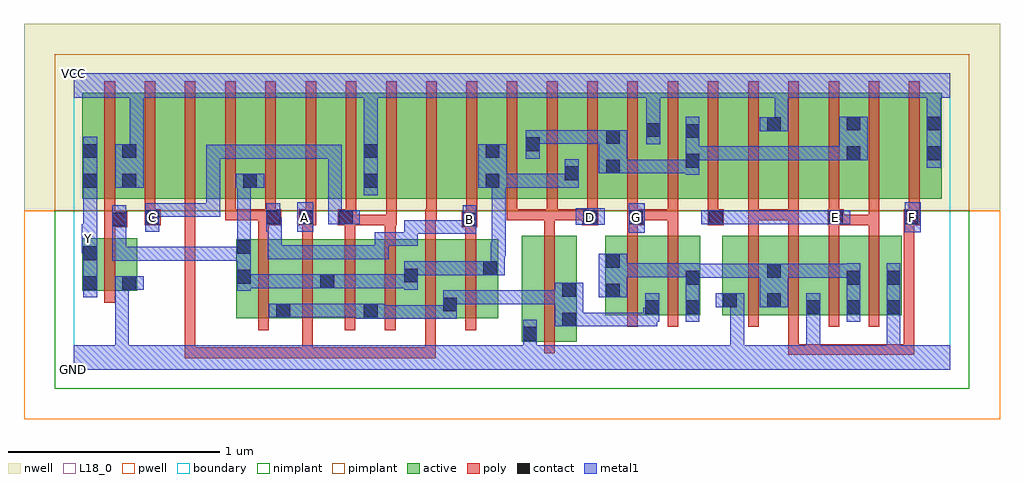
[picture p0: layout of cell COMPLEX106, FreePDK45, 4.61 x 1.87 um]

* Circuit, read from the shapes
.subckt COMPLEX106 A B C D E F G GND VCC Y
M1 GND n1 Y VSUBS nfet w=0.25u l=0.05u
M2 n2 B n1 VSUBS nfet w=0.375u l=0.05u m=2
M3 n1 A n2 VSUBS nfet w=0.375u l=0.05u m=2
M4 n2 C n1 VSUBS nfet w=0.375u l=0.05u m=2
M5 n2 D GND VSUBS nfet w=0.5u l=0.05u
M6 n2 G n3 VSUBS nfet w=0.375u l=0.05u m=2
M7 n3 F GND VSUBS nfet w=0.375u l=0.05u m=2
M8 n3 E GND VSUBS nfet w=0.375u l=0.05u m=2
M9 VCC n1 Y n4 pfet w=0.5u l=0.05u
M10 n5 C VCC n4 pfet w=0.5u l=0.05u
M11 n6 A n5 n4 pfet w=0.5u l=0.05u
M12 n1 B n6 n4 pfet w=0.5u l=0.05u
M13 n7 B n1 n4 pfet w=0.5u l=0.05u
M14 n8 A n7 n4 pfet w=0.5u l=0.05u
M15 VCC C n8 n4 pfet w=0.5u l=0.05u
M16 n9 C VCC n4 pfet w=0.5u l=0.05u
M17 n10 A n9 n4 pfet w=0.5u l=0.05u
M18 n1 B n10 n4 pfet w=0.5u l=0.05u
M19 n11 D n1 n4 pfet w=0.5u l=0.05u m=3
M20 VCC G n11 n4 pfet w=0.5u l=0.05u m=2
M21 n12 E n11 n4 pfet w=0.5u l=0.05u
M22 VCC F n12 n4 pfet w=0.5u l=0.05u
M23 n13 F VCC n4 pfet w=0.5u l=0.05u
M24 n11 E n13 n4 pfet w=0.5u l=0.05u
M25 n14 E n11 n4 pfet w=0.5u l=0.05u
M26 VCC F n14 n4 pfet w=0.5u l=0.05u
.ends

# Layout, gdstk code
import gdstk
lib = gdstk.Library(unit=1e-6, precision=1e-09)
def R(c, l, rs):  # rectangles x0, y0, x1, y1
    for r in rs: c.add(gdstk.rectangle(r[:2], r[2:], *l))
def A(c, l, x, y, w, h, nx, ny, dx, dy):  # array of equal rectangles
    R(c, l, [(x+i*dx, y+j*dy, x+i*dx+w, y+j*dy+h) for i in range(nx) for j in range(ny)])
active = (1, 0)
pwell = (2, 0)
nwell = (3, 0)
nimplant = (4, 0)
pimplant = (5, 0)
poly = (9, 0)
contact = (10, 0)
metal1 = (11, 0)
L18_0 = (18, 0)
boundary = (235, 0)

complex106 = lib.new_cell('COMPLEX106')
A(complex106, active, 0.225, 0.807, 0.23, 0.5, 3, 1, 0.57, 0)
A(complex106, active, 0.455, 0.807, 0.19, 0.5, 3, 1, 0.57, 0)
R(complex106, active, [(2.117,0.132,2.377,0.632), (2.117,0.132,2.192,0.632), (2.302,0.195,2.377,0.632), (0.767,0.242,1.027,0.617), (0.952,0.242,1.235,0.617), (0.952,0.242,1.027,0.512), (1.16,0.242,1.44,0.617), (1.365,0.242,1.63,0.617), (1.365,0.242,1.44,0.592), (1.555,0.242,1.815,0.617), (1.74,0.242,2.005,0.617), (0.767,0.257,0.842,0.617), (2.51,0.257,2.77,0.632), (2.695,0.257,2.96,0.632), (2.695,0.257,2.77,0.497), (2.885,0.257,2.96,0.632), (3.062,0.257,3.137,0.632), (3.062,0.257,3.345,0.632), (3.27,0.257,3.345,0.632), (3.27,0.257,3.53,0.632), (3.455,0.257,3.72,0.632), (3.455,0.257,3.53,0.497), (3.645,0.257,3.91,0.632), (3.645,0.257,3.72,0.592), (3.835,0.257,3.91,0.632), (1.74,0.27,1.815,0.467), (1.16,0.32,1.235,0.512), (1.555,0.32,1.63,0.512), (1.93,0.32,2.005,0.617), (2.51,0.32,2.585,0.632), (0.04,0.372,0.115,0.622), (0.04,0.372,0.3,0.622), (0.225,0.372,0.3,0.622), (0.04,0.807,0.3,1.307), (0.04,0.807,0.115,1.2), (0.225,0.807,0.3,1.307), (0.645,0.807,0.87,1.307), (0.795,0.807,0.87,1.07), (1.215,0.807,1.44,1.307), (1.365,0.807,1.44,1.307), (1.785,0.807,2.015,1.307), (1.94,0.807,2.015,1.2), (1.94,0.807,2.205,1.307), (2.13,0.807,2.39,1.307), (2.13,0.807,2.205,1.2), (2.315,0.807,2.585,1.307), (2.315,0.807,2.39,1.07), (2.51,0.807,2.585,1.2), (2.51,0.807,2.775,1.307), (2.7,0.807,2.96,1.307), (2.7,0.807,2.775,1.307), (2.885,0.807,3.115,1.307), (2.885,0.807,2.96,1.2), (3.115,0.807,3.345,1.307), (3.27,0.807,3.345,1.307), (3.27,0.807,3.495,1.307), (3.495,0.807,3.72,1.307), (3.645,0.807,3.875,1.307), (3.645,0.807,3.72,1.2), (3.875,0.807,4.1,1.307), (4.025,0.807,4.1,1.307)])
R(complex106, pwell, [(-0.235,-0.235,4.375,0.75)])
R(complex106, nwell, [(-0.235,0.75,4.375,1.635)])
R(complex106, nimplant, [(-0.09,-0.09,4.23,0.75)])
R(complex106, pimplant, [(-0.09,0.75,4.23,1.49)])
A(complex106, poly, 1.28, 0.187, 0.05, 0.485, 4, 1, 0.19, 0)
A(complex106, poly, 3.185, 0.202, 0.05, 0.485, 4, 1, 0.19, 0)
A(complex106, poly, 0.715, 0.707, 0.05, 0.095, 4, 1, 0.19, 0)
A(complex106, poly, 2.045, 0.707, 0.05, 0.095, 9, 1, 0.19, 0)
A(complex106, poly, 0.145, 0.752, 0.05, 0.61, 21, 1, 0.19, 0)
R(complex106, poly, [(0.525,0.055,0.575,0.105), (0.525,0.055,0.575,0.105), (0.525,0.055,0.575,0.105), (0.525,0.055,0.575,0.105), (0.525,0.055,0.575,0.105), (0.525,0.055,0.575,0.105), (0.525,0.055,0.575,0.105), (0.525,0.055,0.575,0.105), (0.525,0.055,0.575,0.105), (0.525,0.055,0.575,0.105), (0.525,0.055,0.575,0.105), (0.525,0.055,0.707,0.105), (0.525,0.055,0.575,0.802), (0.657,0.055,0.707,0.105), (0.657,0.055,0.707,0.105), (0.657,0.055,0.707,0.105), (0.657,0.055,0.98,0.105), (0.93,0.055,0.98,0.105), (0.93,0.055,0.98,0.105), (0.93,0.055,0.98,0.105), (0.93,0.055,1.13,0.105), (1.08,0.055,1.13,0.105), (1.08,0.055,1.13,0.105), (1.08,0.055,1.13,0.105), (1.08,0.055,1.13,0.237), (1.08,0.055,1.387,0.105), (1.337,0.055,1.387,0.105), (1.337,0.055,1.387,0.105), (1.337,0.055,1.387,0.105), (1.337,0.055,1.52,0.105), (1.47,0.055,1.52,0.105), (1.47,0.055,1.52,0.105), (1.47,0.055,1.52,0.105), (1.47,0.055,1.71,0.105), (1.66,0.055,1.71,0.105), (1.66,0.055,1.71,0.237), (3.375,0.07,3.425,0.12), (3.375,0.07,3.425,0.12), (3.375,0.07,3.425,0.12), (3.375,0.07,3.637,0.12), (3.375,0.07,3.425,0.252), (3.587,0.07,3.637,0.12), (3.587,0.07,3.77,0.12), (3.72,0.07,3.77,0.12), (3.72,0.07,3.77,0.12), (3.72,0.07,3.77,0.12), (3.72,0.07,3.97,0.12), (3.92,0.07,3.97,0.12), (3.92,0.07,3.97,0.12), (3.92,0.07,3.97,0.12), (3.92,0.07,3.97,0.732), (2.222,0.077,2.272,0.687), (0.872,0.187,0.922,0.672), (1.08,0.187,1.13,0.672), (2.615,0.202,2.665,0.687), (2.805,0.202,2.855,0.687), (0.145,0.317,0.195,0.677), (0.872,0.622,0.922,0.732), (1.08,0.622,1.13,0.732), (1.28,0.622,1.33,0.732), (1.47,0.622,1.52,0.732), (1.66,0.622,1.71,0.757), (1.85,0.622,1.9,0.722), (0.145,0.627,0.195,0.722), (2.222,0.637,2.272,0.757), (2.615,0.637,2.665,0.732), (2.805,0.637,2.855,0.757), (3.185,0.637,3.235,0.757), (3.375,0.637,3.425,0.757), (3.565,0.637,3.615,0.732), (3.755,0.637,3.805,0.732), (0.145,0.672,0.252,0.747), (1.832,0.672,1.907,0.747), (0.335,0.682,0.41,0.757), (0.872,0.682,0.98,0.757), (1.062,0.682,1.145,0.757), (1.247,0.682,1.335,0.757), (1.285,0.682,1.335,0.732), (1.285,0.682,1.335,0.732), (1.285,0.682,1.52,0.732), (1.47,0.682,1.525,0.732), (1.475,0.682,1.525,0.802), (2.402,0.682,2.477,0.757), (2.615,0.682,2.692,0.757), (2.995,0.682,3.07,0.757), (3.562,0.682,3.637,0.757), (3.587,0.682,3.805,0.732), (3.755,0.682,3.805,0.732), (3.755,0.682,3.805,0.732), (3.755,0.682,3.805,0.732), (3.755,0.682,3.805,0.802), (3.92,0.682,3.97,0.732), (3.92,0.682,3.97,0.732), (3.92,0.682,3.97,0.732), (3.92,0.682,3.97,0.732), (3.92,0.682,3.97,0.732), (3.92,0.682,3.97,0.732), (3.92,0.682,3.995,0.757), (0.145,0.697,0.195,0.802), (1.855,0.697,1.905,0.802), (0.335,0.707,0.385,0.802), (0.715,0.707,0.765,0.757), (0.715,0.707,0.765,0.757), (0.715,0.707,0.765,0.757), (0.715,0.707,0.922,0.757), (1.66,0.707,1.715,0.757), (1.665,0.707,1.715,0.802), (2.045,0.707,2.095,0.757), (2.045,0.707,2.095,0.757), (2.045,0.707,2.095,0.757), (2.045,0.707,2.272,0.757), (2.222,0.707,2.285,0.757), (2.235,0.707,2.285,0.757), (2.235,0.707,2.285,0.757), (2.235,0.707,2.452,0.757), (2.642,0.707,2.855,0.757), (2.805,0.707,2.855,0.757), (2.805,0.707,2.855,0.757), (2.805,0.707,2.855,0.757), (3.185,0.707,3.235,0.757), (3.185,0.707,3.235,0.757), (3.185,0.707,3.235,0.757), (3.185,0.707,3.425,0.757), (3.375,0.707,3.425,0.757), (3.945,0.707,3.995,0.802)])
A(complex106, contact, 3.46, 0.262, 0.065, 0.065, 3, 1, 0.19, 0)
A(complex106, contact, 0.23, 0.86, 0.065, 0.065, 3, 1, 0.57, 0)
R(complex106, contact, [(2.122,0.137,2.187,0.202), (2.307,0.205,2.372,0.27), (0.957,0.247,1.022,0.312), (1.37,0.247,1.435,0.312), (2.7,0.262,2.765,0.327), (2.89,0.262,2.955,0.327), (1.745,0.275,1.81,0.34), (3.067,0.295,3.132,0.36), (3.275,0.295,3.34,0.36), (2.515,0.342,2.58,0.407), (2.307,0.345,2.372,0.41), (0.045,0.377,0.11,0.442), (0.23,0.377,0.295,0.442), (1.165,0.385,1.23,0.45), (2.89,0.402,2.955,0.467), (3.65,0.402,3.715,0.467), (3.84,0.402,3.905,0.467), (0.772,0.407,0.837,0.472), (1.56,0.412,1.625,0.477), (3.275,0.435,3.34,0.5), (1.935,0.447,2,0.512), (2.515,0.482,2.58,0.547), (0.045,0.517,0.11,0.582), (0.772,0.547,0.837,0.612), (0.182,0.677,0.247,0.742), (1.837,0.677,1.902,0.742), (0.34,0.687,0.405,0.752), (0.91,0.687,0.975,0.752), (1.067,0.687,1.132,0.752), (1.252,0.687,1.317,0.752), (2.407,0.687,2.472,0.752), (2.622,0.687,2.687,0.752), (3,0.687,3.065,0.752), (3.567,0.687,3.632,0.752), (3.925,0.687,3.99,0.752), (0.045,0.86,0.11,0.925), (1.945,0.86,2.01,0.925), (2.32,0.895,2.385,0.96), (2.515,0.927,2.58,0.992), (2.89,0.955,2.955,1.02), (3.65,0.99,3.715,1.055), (4.03,0.99,4.095,1.055), (0.045,1,0.11,1.065), (0.23,1,0.295,1.065), (1.37,1,1.435,1.065), (1.945,1,2.01,1.065), (2.135,1.032,2.2,1.097), (2.515,1.067,2.58,1.132), (2.89,1.095,2.955,1.16), (2.705,1.1,2.77,1.165), (3.275,1.127,3.34,1.192), (3.65,1.13,3.715,1.195), (4.03,1.13,4.095,1.195)])
R(complex106, metal1, [(0,0,4.14,0.115), (0.195,0.05,0.26,0.115), (0.195,0.05,0.26,0.115), (0.195,0.05,0.26,0.115), (0.195,0.05,0.26,0.115), (0.195,0.05,0.26,0.115), (0.195,0.05,0.26,0.115), (0.195,0.05,0.26,0.442), (2.122,0.05,2.187,0.167), (3.102,0.05,3.167,0.115), (3.102,0.05,3.167,0.115), (3.102,0.05,3.167,0.36), (3.46,0.05,3.525,0.292), (3.46,0.05,3.525,0.115), (3.46,0.05,3.525,0.115), (3.84,0.05,3.905,0.292), (3.84,0.05,3.905,0.115), (3.84,0.05,3.905,0.115), (3.84,0.05,3.905,0.115), (3.84,0.05,3.905,0.115), (2.122,0.102,2.187,0.167), (2.122,0.102,2.187,0.167), (2.122,0.102,2.187,0.237), (2.272,0.205,2.407,0.41), (2.342,0.205,2.407,0.27), (2.342,0.205,2.407,0.27), (2.342,0.205,2.627,0.27), (2.562,0.205,2.627,0.27), (2.562,0.205,2.755,0.27), (2.69,0.205,2.755,0.292), (2.69,0.227,2.765,0.292), (2.7,0.227,2.765,0.362), (2.89,0.227,2.955,0.502), (3.46,0.227,3.525,0.292), (3.46,0.227,3.525,0.292), (3.46,0.227,3.525,0.362), (3.65,0.227,3.715,0.502), (3.84,0.227,3.905,0.502), (1.335,0.24,1.47,0.312), (1.405,0.24,1.625,0.305), (1.56,0.24,1.625,0.305), (1.56,0.24,1.625,0.305), (1.56,0.24,1.625,0.305), (1.56,0.24,1.762,0.305), (1.697,0.24,1.762,0.305), (1.697,0.24,1.81,0.305), (1.745,0.24,1.81,0.375), (0.922,0.247,1.057,0.312), (0.992,0.247,1.145,0.312), (1.08,0.247,1.145,0.312), (1.08,0.247,1.262,0.312), (1.197,0.247,1.262,0.312), (1.197,0.247,1.4,0.312), (1.335,0.247,1.4,0.312), (1.335,0.247,1.4,0.312), (3.032,0.295,3.167,0.36), (3.102,0.295,3.167,0.36), (3.102,0.295,3.167,0.36), (3.24,0.295,3.375,0.5), (1.745,0.31,1.907,0.375), (1.842,0.31,1.907,0.375), (1.842,0.31,1.947,0.375), (1.882,0.31,1.947,0.375), (1.882,0.31,2.062,0.375), (1.997,0.31,2.062,0.375), (1.997,0.31,2.2,0.375), (2.135,0.31,2.2,0.375), (2.135,0.31,2.2,0.375), (2.135,0.31,2.2,0.375), (2.135,0.31,2.337,0.375), (0.045,0.342,0.11,0.617), (2.48,0.342,2.615,0.547), (0.772,0.372,0.837,0.647), (0.772,0.372,0.837,0.437), (0.772,0.372,0.837,0.45), (0.195,0.377,0.33,0.442), (1.56,0.377,1.625,0.512), (0.772,0.385,0.975,0.45), (0.91,0.385,0.975,0.45), (0.91,0.385,0.975,0.45), (0.91,0.385,0.975,0.45), (0.91,0.385,1.145,0.45), (1.08,0.385,1.145,0.45), (1.08,0.385,1.195,0.45), (1.13,0.385,1.265,0.45), (1.2,0.385,1.487,0.45), (1.422,0.385,1.487,0.45), (1.422,0.385,1.487,0.45), (1.422,0.385,1.487,0.45), (1.422,0.385,1.625,0.45), (1.56,0.385,1.625,0.45), (1.56,0.385,1.625,0.45), (2.89,0.435,3.03,0.5), (2.965,0.435,3.03,0.5), (2.965,0.435,3.092,0.5), (3.027,0.435,3.092,0.5), (3.027,0.435,3.305,0.5), (3.24,0.435,3.305,0.5), (3.24,0.435,3.305,0.5), (3.31,0.435,3.46,0.5), (3.395,0.435,3.46,0.5), (3.395,0.435,3.512,0.5), (3.447,0.435,3.512,0.5), (3.447,0.435,3.715,0.5), (3.65,0.435,3.715,0.5), (3.65,0.435,3.715,0.5), (2.55,0.437,2.615,0.502), (2.55,0.437,2.615,0.502), (2.55,0.437,2.817,0.502), (2.752,0.437,2.817,0.502), (2.752,0.437,2.892,0.502), (2.827,0.437,2.892,0.502), (2.827,0.437,2.955,0.502), (1.56,0.447,1.762,0.512), (1.697,0.447,1.762,0.512), (1.697,0.447,1.762,0.512), (1.697,0.447,1.762,0.512), (1.697,0.447,1.907,0.512), (1.842,0.447,1.907,0.512), (1.842,0.447,1.965,0.512), (1.9,0.447,2.035,0.512), (1.97,0.447,2.035,0.602), (0.182,0.515,0.247,0.58), (0.182,0.515,0.385,0.58), (0.182,0.515,0.247,0.707), (0.32,0.515,0.385,0.58), (0.32,0.515,0.385,0.58), (0.32,0.515,0.385,0.58), (0.32,0.515,0.542,0.58), (0.477,0.515,0.542,0.58), (0.477,0.515,0.542,0.58), (0.477,0.515,0.542,0.58), (0.477,0.515,0.837,0.58), (0.772,0.515,0.837,0.58), (0.772,0.515,0.837,0.58), (0.917,0.522,0.982,0.587), (0.917,0.522,1.112,0.587), (0.917,0.522,0.982,0.717), (1.047,0.522,1.112,0.587), (1.047,0.522,1.262,0.587), (1.197,0.522,1.262,0.587), (1.197,0.522,1.487,0.587), (1.422,0.522,1.487,0.587), (1.422,0.522,1.487,0.587), (1.422,0.522,1.487,0.65), (1.97,0.537,2.04,0.602), (1.975,0.537,2.04,0.925), (0.037,0.552,0.11,0.687), (0.045,0.552,0.11,0.617), (0.772,0.582,0.837,0.647), (0.772,0.582,0.837,0.647), (0.772,0.582,0.837,0.925), (1.422,0.585,1.625,0.65), (1.56,0.585,1.625,0.65), (1.56,0.585,1.625,0.65), (1.56,0.585,1.625,0.65), (1.56,0.585,1.625,0.707), (0.045,0.622,0.11,0.89), (0.182,0.642,0.247,0.707), (0.182,0.642,0.247,0.707), (0.182,0.642,0.247,0.777), (1.56,0.642,1.625,0.707), (1.56,0.642,1.762,0.707), (1.697,0.642,1.762,0.707), (1.697,0.642,1.762,0.707), (1.697,0.642,1.762,0.707), (1.697,0.642,1.902,0.707), (1.837,0.642,1.902,0.777), (2.622,0.647,2.697,0.787), (3.925,0.65,4,0.79), (0.337,0.652,0.405,0.787), (0.91,0.652,0.975,0.787), (0.91,0.652,0.982,0.717), (0.917,0.652,0.982,0.717), (1.055,0.652,1.132,0.79), (2.372,0.685,2.507,0.762), (1.202,0.687,1.267,0.752), (1.202,0.687,1.282,0.752), (1.202,0.687,1.267,1.062), (1.217,0.687,1.352,0.752), (2.965,0.687,3.1,0.752), (3.035,0.687,3.1,0.752), (3.035,0.687,3.1,0.752), (3.035,0.687,3.322,0.752), (3.257,0.687,3.322,0.752), (3.257,0.687,3.322,0.752), (3.257,0.687,3.322,0.752), (3.257,0.687,3.46,0.752), (3.395,0.687,3.46,0.752), (3.395,0.687,3.512,0.752), (3.447,0.687,3.512,0.752), (3.447,0.687,3.597,0.752), (3.532,0.687,3.667,0.752), (0.34,0.722,0.405,0.787), (0.34,0.722,0.405,0.787), (0.34,0.722,0.692,0.787), (0.627,0.722,0.692,0.787), (0.627,0.722,0.692,0.787), (0.627,0.722,0.692,0.787), (0.627,0.722,0.692,1.062), (0.045,0.825,0.11,1.1), (1.37,0.825,1.435,1.1), (0.195,0.86,0.33,1.065), (0.765,0.86,0.9,0.925), (1.91,0.86,2.045,1.065), (1.975,0.86,2.04,0.925), (1.975,0.86,2.04,0.925), (1.98,0.86,2.045,0.925), (1.98,0.86,2.045,0.925), (1.98,0.86,2.2,0.925), (2.135,0.86,2.2,0.925), (2.135,0.86,2.2,0.925), (2.135,0.86,2.2,0.925), (2.135,0.86,2.385,0.925), (2.32,0.86,2.385,0.995), (2.89,0.92,2.955,1.195), (2.48,0.927,2.615,1.132), (2.55,0.927,2.615,0.992), (2.55,0.927,2.615,0.992), (2.55,0.927,2.817,0.992), (2.752,0.927,2.817,0.992), (2.752,0.927,2.892,0.992), (2.827,0.927,2.892,0.992), (2.827,0.927,2.955,0.992), (4.03,0.955,4.095,1.23), (2.89,0.99,3.092,1.055), (3.027,0.99,3.092,1.055), (3.027,0.99,3.092,1.055), (3.027,0.99,3.092,1.055), (3.027,0.99,3.322,1.055), (3.257,0.99,3.322,1.055), (3.257,0.99,3.322,1.055), (3.257,0.99,3.322,1.055), (3.257,0.99,3.46,1.055), (3.395,0.99,3.46,1.055), (3.395,0.99,3.542,1.055), (3.477,0.99,3.542,1.055), (3.477,0.99,3.597,1.055), (3.532,0.99,3.597,1.055), (3.532,0.99,3.68,1.055), (3.615,0.99,3.75,1.195), (0.627,0.997,0.692,1.062), (0.627,0.997,0.692,1.062), (0.627,0.997,0.692,1.062), (0.627,0.997,0.837,1.062), (0.772,0.997,0.837,1.062), (0.772,0.997,0.837,1.062), (0.772,0.997,0.837,1.062), (0.772,0.997,0.975,1.062), (0.91,0.997,0.975,1.062), (0.91,0.997,0.975,1.062), (0.91,0.997,0.975,1.062), (0.91,0.997,1.145,1.062), (1.08,0.997,1.145,1.062), (1.08,0.997,1.267,1.062), (1.202,0.997,1.267,1.062), (1.202,0.997,1.267,1.062), (1.202,0.997,1.267,1.062), (2.135,0.997,2.2,1.132), (0.265,1,0.33,1.35), (1.37,1.035,1.435,1.35), (2.705,1.065,2.77,1.2), (2.135,1.067,2.2,1.132), (2.135,1.067,2.2,1.132), (2.135,1.067,2.407,1.132), (2.342,1.067,2.407,1.132), (2.342,1.067,2.407,1.132), (2.342,1.067,2.407,1.132), (2.342,1.067,2.545,1.132), (3.24,1.127,3.375,1.192), (3.31,1.127,3.375,1.35), (2.705,1.135,2.77,1.35), (4.03,1.165,4.095,1.35), (0,1.285,4.14,1.4)])
R(complex106, L18_0, [(0,0,4.14,0.115), (0.195,0.05,0.26,0.115), (0.195,0.05,0.26,0.115), (0.195,0.05,0.26,0.115), (0.195,0.05,0.26,0.115), (0.195,0.05,0.26,0.115), (0.195,0.05,0.26,0.115), (0.195,0.05,0.26,0.442), (2.122,0.05,2.187,0.167), (3.102,0.05,3.167,0.115), (3.102,0.05,3.167,0.115), (3.102,0.05,3.167,0.36), (3.46,0.05,3.525,0.115), (3.46,0.05,3.525,0.115), (3.46,0.05,3.525,0.292), (3.84,0.05,3.905,0.115), (3.84,0.05,3.905,0.115), (3.84,0.05,3.905,0.115), (3.84,0.05,3.905,0.115), (3.84,0.05,3.905,0.292), (2.122,0.102,2.187,0.167), (2.122,0.102,2.187,0.167), (2.122,0.102,2.187,0.237), (3.46,0.227,3.525,0.292), (3.46,0.227,3.525,0.292), (3.46,0.227,3.525,0.362), (3.84,0.227,3.905,0.502), (3.032,0.295,3.167,0.36), (3.102,0.295,3.167,0.36), (3.102,0.295,3.167,0.36), (0.045,0.342,0.11,0.617), (0.195,0.377,0.33,0.442), (0.917,0.522,0.982,0.587), (0.917,0.522,0.982,0.717), (0.917,0.522,1.112,0.587), (1.047,0.522,1.112,0.587), (1.047,0.522,1.262,0.587), (1.197,0.522,1.262,0.587), (1.197,0.522,1.487,0.587), (1.422,0.522,1.487,0.587), (1.422,0.522,1.487,0.587), (1.422,0.522,1.487,0.65), (0.037,0.552,0.11,0.687), (0.045,0.552,0.11,0.617), (1.422,0.585,1.625,0.65), (1.56,0.585,1.625,0.65), (1.56,0.585,1.625,0.65), (1.56,0.585,1.625,0.65), (1.56,0.585,1.625,0.707), (0.037,0.587,0.102,0.652), (0.045,0.622,0.11,0.89), (1.56,0.642,1.625,0.707), (1.56,0.642,1.762,0.707), (1.697,0.642,1.762,0.707), (1.697,0.642,1.762,0.707), (1.697,0.642,1.762,0.707), (1.697,0.642,1.902,0.707), (1.837,0.642,1.902,0.777), (2.622,0.647,2.697,0.787), (3.925,0.65,4,0.79), (0.337,0.652,0.405,0.787), (0.91,0.652,0.975,0.787), (0.91,0.652,0.982,0.717), (0.917,0.652,0.982,0.717), (1.055,0.652,1.132,0.79), (1.837,0.677,1.902,0.742), (2.372,0.685,2.507,0.762), (0.337,0.687,0.402,0.752), (1.057,0.687,1.122,0.752), (1.202,0.687,1.267,0.752), (1.202,0.687,1.267,1.062), (1.202,0.687,1.282,0.752), (1.217,0.687,1.352,0.752), (2.407,0.687,2.472,0.752), (2.627,0.687,2.692,0.752), (2.965,0.687,3.1,0.752), (3.035,0.687,3.1,0.752), (3.035,0.687,3.1,0.752), (3.035,0.687,3.322,0.752), (3.257,0.687,3.322,0.752), (3.257,0.687,3.322,0.752), (3.257,0.687,3.322,0.752), (3.257,0.687,3.46,0.752), (3.395,0.687,3.46,0.752), (3.395,0.687,3.512,0.752), (3.447,0.687,3.512,0.752), (3.447,0.687,3.597,0.752), (3.532,0.687,3.667,0.752), (3.567,0.687,3.632,0.752), (3.927,0.687,3.992,0.752), (0.34,0.722,0.405,0.787), (0.34,0.722,0.405,0.787), (0.34,0.722,0.692,0.787), (0.627,0.722,0.692,0.787), (0.627,0.722,0.692,0.787), (0.627,0.722,0.692,0.787), (0.627,0.722,0.692,1.062), (0.045,0.825,0.11,1.1), (1.37,0.825,1.435,1.1), (0.195,0.86,0.33,1.065), (4.03,0.955,4.095,1.23), (0.627,0.997,0.692,1.062), (0.627,0.997,0.692,1.062), (0.627,0.997,0.692,1.062), (0.627,0.997,0.837,1.062), (0.772,0.997,0.837,1.062), (0.772,0.997,0.837,1.062), (0.772,0.997,0.837,1.062), (0.772,0.997,0.975,1.062), (0.91,0.997,0.975,1.062), (0.91,0.997,0.975,1.062), (0.91,0.997,0.975,1.062), (0.91,0.997,1.145,1.062), (1.08,0.997,1.145,1.062), (1.08,0.997,1.267,1.062), (1.202,0.997,1.267,1.062), (1.202,0.997,1.267,1.062), (1.202,0.997,1.267,1.062), (0.265,1,0.33,1.35), (1.37,1.035,1.435,1.35), (2.705,1.065,2.77,1.2), (3.24,1.127,3.375,1.192), (3.31,1.127,3.375,1.35), (2.705,1.135,2.77,1.35), (4.03,1.165,4.095,1.35), (0,1.285,4.14,1.4)])
R(complex106, boundary, [(0,0,4.14,1.4)])
complex106.add(gdstk.Label('A', (1.09,0.72), layer=11, texttype=0))
complex106.add(gdstk.Label('B', (1.87,0.71), layer=11, texttype=0))
complex106.add(gdstk.Label('C', (0.37,0.72), layer=11, texttype=0))
complex106.add(gdstk.Label('D', (2.44,0.72), layer=11, texttype=0))
complex106.add(gdstk.Label('E', (3.6,0.72), layer=11, texttype=0))
complex106.add(gdstk.Label('F', (3.96,0.72), layer=11, texttype=0))
complex106.add(gdstk.Label('G', (2.66,0.72), layer=11, texttype=0))
complex106.add(gdstk.Label('Y', (0.07,0.62), layer=11, texttype=0))
complex106.add(gdstk.Label('VCC', (0,1.4), layer=11, texttype=0))
complex106.add(gdstk.Label('GND', (0,0), layer=11, texttype=0))

lib.write_gds('COMPLEX106.gds')
